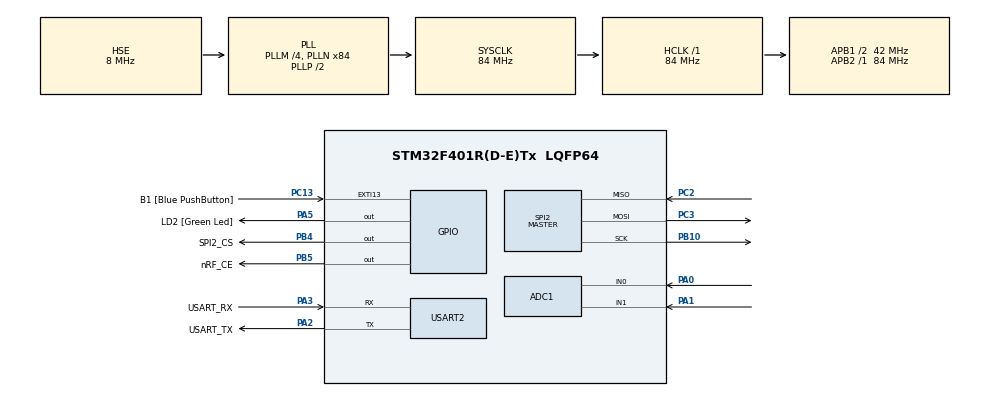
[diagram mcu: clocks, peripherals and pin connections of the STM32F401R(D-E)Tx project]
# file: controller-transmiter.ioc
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ADC1.Channel-0\#ChannelRegularConversion=ADC_CHANNEL_0
ADC1.Channel-1\#ChannelRegularConversion=ADC_CHANNEL_1
ADC1.ContinuousConvMode=ENABLE
ADC1.DMAContinuousRequests=ENABLE
ADC1.NbrOfConversion=2
ADC1.NbrOfConversionFlag=1
ADC1.Rank-0\#ChannelRegularConversion=1
ADC1.Rank-1\#ChannelRegularConversion=2
ADC1.SamplingTime-0\#ChannelRegularConversion=ADC_SAMPLETIME_480CYCLES
ADC1.SamplingTime-1\#ChannelRegularConversion=ADC_SAMPLETIME_480CYCLES
ADC1.ScanConvMode=ENABLE
ADC1.master=1
Dma.ADC1.0.Direction=DMA_PERIPH_TO_MEMORY
Dma.ADC1.0.FIFOMode=DMA_FIFOMODE_DISABLE
Dma.ADC1.0.Instance=DMA2_Stream0
Dma.ADC1.0.MemDataAlignment=DMA_MDATAALIGN_HALFWORD
Dma.ADC1.0.MemInc=DMA_MINC_ENABLE
Dma.ADC1.0.Mode=DMA_CIRCULAR
Dma.ADC1.0.PeriphDataAlignment=DMA_PDATAALIGN_HALFWORD
Dma.ADC1.0.PeriphInc=DMA_PINC_DISABLE
Dma.ADC1.0.Priority=DMA_PRIORITY_LOW
Dma.Request0=ADC1
Mcu.Family=STM32F4
Mcu.Name=STM32F401R(D-E)Tx
Mcu.Package=LQFP64
NVIC.DMA2_Stream0_IRQn=true\:0\:0\:false\:false\:true\:false\:true\:true
NVIC.PriorityGroup=NVIC_PRIORITYGROUP_0
PA0-WKUP.Signal=ADCx_IN0
PA1.Signal=ADCx_IN1
PA13.GPIO_Label=TMS
PA13.Mode=Serial_Wire
PA13.Signal=SYS_JTMS-SWDIO
PA14.GPIO_Label=TCK
PA14.Mode=Serial_Wire
PA14.Signal=SYS_JTCK-SWCLK
PA2.GPIO_Label=USART_TX
PA2.GPIO_Mode=GPIO_MODE_AF_PP
PA2.GPIO_PuPd=GPIO_NOPULL
PA2.GPIO_Speed=GPIO_SPEED_FREQ_LOW
PA2.Mode=Asynchronous
PA2.Signal=USART2_TX
PA3.GPIO_Label=USART_RX
PA3.GPIO_Mode=GPIO_MODE_AF_PP
PA3.GPIO_PuPd=GPIO_NOPULL
PA3.GPIO_Speed=GPIO_SPEED_FREQ_LOW
PA3.Mode=Asynchronous
PA3.Signal=USART2_RX
PA5.GPIO_Label=LD2 [Green Led]
PA5.GPIO_Mode=GPIO_MODE_OUTPUT_PP
PA5.GPIO_PuPd=GPIO_NOPULL
PA5.GPIO_Speed=GPIO_SPEED_FREQ_LOW
PA5.Signal=GPIO_Output
PB10.Mode=Full_Duplex_Master
PB10.Signal=SPI2_SCK
PB3.GPIO_Label=SWO
PB3.Signal=SYS_JTDO-SWO
PB4.GPIO_Label=SPI2_CS
PB4.Signal=GPIO_Output
PB5.GPIO_Label=nRF_CE
PB5.Signal=GPIO_Output
PC13-ANTI_TAMP.GPIO_Label=B1 [Blue PushButton]
PC13-ANTI_TAMP.GPIO_ModeDefaultEXTI=GPIO_MODE_IT_FALLING
PC13-ANTI_TAMP.GPIO_PuPd=GPIO_NOPULL
PC13-ANTI_TAMP.Signal=GPXTI13
PC14-OSC32_IN.Mode=LSE-External-Oscillator
PC14-OSC32_IN.Signal=RCC_OSC32_IN
PC15-OSC32_OUT.Mode=LSE-External-Oscillator
PC15-OSC32_OUT.Signal=RCC_OSC32_OUT
PC2.Mode=Full_Duplex_Master
PC2.Signal=SPI2_MISO
PC3.Mode=Full_Duplex_Master
PC3.Signal=SPI2_MOSI
PH0\ -\ OSC_IN.Mode=HSE-External-Clock-Source
PH0\ -\ OSC_IN.Signal=RCC_OSC_IN
PH1\ -\ OSC_OUT.Mode=HSE-External-Clock-Source
PH1\ -\ OSC_OUT.Signal=RCC_OSC_OUT
ProjectManager.HeapSize=0x200
ProjectManager.StackSize=0x400
ProjectManager.TargetToolchain=MDK-ARM V5.32
RCC.48MHZClocksFreq_Value=24000000
RCC.AHBFreq_Value=84000000
RCC.APB1CLKDivider=RCC_HCLK_DIV2
RCC.APB1Freq_Value=42000000
RCC.APB1TimFreq_Value=84000000
RCC.APB2Freq_Value=84000000
RCC.APB2TimFreq_Value=84000000
RCC.CortexFreq_Value=84000000
RCC.HCLKFreq_Value=84000000
RCC.HSE_VALUE=8000000
RCC.HSI_VALUE=16000000
RCC.PLLM=4
RCC.PLLN=84
RCC.PLLQ=7
RCC.PLLSourceVirtual=RCC_PLLSOURCE_HSE
RCC.SYSCLKFreq_VALUE=84000000
RCC.SYSCLKSource=RCC_SYSCLKSOURCE_PLLCLK
RCC.VCOOutputFreq_Value=168000000
SH.ADCx_IN0.0=ADC1_IN0,IN0
SH.ADCx_IN1.0=ADC1_IN1,IN1
SPI2.BaudRatePrescaler=SPI_BAUDRATEPRESCALER_8
SPI2.Direction=SPI_DIRECTION_2LINES
SPI2.Mode=SPI_MODE_MASTER
SPI2.VirtualType=VM_MASTER
USART2.VirtualMode=VM_ASYNC
board=NUCLEO-F401RE

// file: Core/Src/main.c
/* USER CODE BEGIN Header */
/**
  ******************************************************************************
  * @file           : main.c
  * @brief          : Main program body
  ******************************************************************************
  * @attention
  *
  * Copyright (c) 2022 STMicroelectronics.
  * All rights reserved.
  *
  * This software is licensed under terms that can be found in the LICENSE file
  * in the root directory of this software component.
  * If no LICENSE file comes with this software, it is provided AS-IS.
  *
  ******************************************************************************
  */
/* USER CODE END Header */
#include "main.h"
#include "adc.h"
#include "dma.h"
#include "spi.h"
#include "usart.h"
#include "gpio.h"

/* USER CODE BEGIN Includes */
#include "MY_NRF24.h"
/* USER CODE END Includes */

/* USER CODE BEGIN PTD */
typedef struct  {

	uint8_t  enable;
	uint16_t velocity_front;
	uint16_t velocity_direction;

} sRadioFrame;
/* USER CODE END PTD */

/* USER CODE BEGIN PV */

sRadioFrame radio_frame;

sRadioFrame *radio_ptr = &radio_frame;

int counter = 0;

//joystick
uint16_t joystick[2];

//nRF24
uint64_t tx_pipe_address = 0x1111111111;
uint32_t ack_payload_reference = 123456;
uint32_t ack_payload;

uint32_t ack_successful_counter = 0;
uint32_t ack_fail_counter = 0;

/* USER CODE END PV */

void SystemClock_Config(void);

int main(void)
{

  /* MCU Configuration--------------------------------------------------------*/

  /* Reset of all peripherals, Initializes the Flash interface and the Systick. */
  HAL_Init();

  /* Configure the system clock */
  SystemClock_Config();

  /* Initialize all configured peripherals */
  MX_GPIO_Init();
  MX_SPI2_Init();
  MX_DMA_Init();
  MX_USART2_UART_Init();
  MX_ADC1_Init();
  /* USER CODE BEGIN 2 */

	HAL_ADC_Start_DMA(&hadc1, (uint32_t*)joystick, 2);

	NRF24_begin(GPIOB, SPI2_CS_Pin, nRF_CE_Pin, hspi2);
	nrf24_DebugUART_Init(huart2);

	printRadioSettings();

	NRF24_stopListening();
	NRF24_openWritingPipe(tx_pipe_address);
	NRF24_setAutoAck(true);
	NRF24_setChannel(50);
	NRF24_setPayloadSize(6);

	NRF24_enableDynamicPayloads();
	NRF24_enableAckPayload();

	radio_frame.enable = 0;

  /* USER CODE END 2 */

  /* Infinite loop */
  while (1)
  {

    /* USER CODE BEGIN 3 */

		if(HAL_GPIO_ReadPin(B1_GPIO_Port, B1_Pin) == GPIO_PIN_RESET)
		{
			if(radio_frame.enable == 1)
			{
				radio_frame.enable = 0;
			}
				else if(radio_frame.enable == 0)
				{
					radio_frame.enable = 1;
				}
					else radio_frame.enable = 0;

			HAL_Delay(500);
		}

			radio_frame.velocity_front = joystick[0];
			radio_frame.velocity_direction = joystick[1];

			if(NRF24_write(radio_ptr, 6))
			{
				NRF24_read(&ack_payload, 6);

				if(ack_payload == ack_payload_reference)
				{
					ack_successful_counter++;
				}
				else
				{
					ack_fail_counter++;
				}
			}

			HAL_Delay(10);

  }
  /* USER CODE END 3 */
}

void SystemClock_Config(void)
{
  RCC_OscInitTypeDef RCC_OscInitStruct = {0};
  RCC_ClkInitTypeDef RCC_ClkInitStruct = {0};

  /** Configure the main internal regulator output voltage
  */
  __HAL_RCC_PWR_CLK_ENABLE();
  __HAL_PWR_VOLTAGESCALING_CONFIG(PWR_REGULATOR_VOLTAGE_SCALE2);

  /** Initializes the RCC Oscillators according to the specified parameters
  * in the RCC_OscInitTypeDef structure.
  */
  RCC_OscInitStruct.OscillatorType = RCC_OSCILLATORTYPE_HSE;
  RCC_OscInitStruct.HSEState = RCC_HSE_BYPASS;
  RCC_OscInitStruct.PLL.PLLState = RCC_PLL_ON;
  RCC_OscInitStruct.PLL.PLLSource = RCC_PLLSOURCE_HSE;
  RCC_OscInitStruct.PLL.PLLM = 4;
  RCC_OscInitStruct.PLL.PLLN = 84;
  RCC_OscInitStruct.PLL.PLLP = RCC_PLLP_DIV2;
  RCC_OscInitStruct.PLL.PLLQ = 7;
  if (HAL_RCC_OscConfig(&RCC_OscInitStruct) != HAL_OK)
  {
    Error_Handler();
  }

  /** Initializes the CPU, AHB and APB buses clocks
  */
  RCC_ClkInitStruct.ClockType = RCC_CLOCKTYPE_HCLK|RCC_CLOCKTYPE_SYSCLK
                              |RCC_CLOCKTYPE_PCLK1|RCC_CLOCKTYPE_PCLK2;
  RCC_ClkInitStruct.SYSCLKSource = RCC_SYSCLKSOURCE_PLLCLK;
  RCC_ClkInitStruct.AHBCLKDivider = RCC_SYSCLK_DIV1;
  RCC_ClkInitStruct.APB1CLKDivider = RCC_HCLK_DIV2;
  RCC_ClkInitStruct.APB2CLKDivider = RCC_HCLK_DIV1;

  if (HAL_RCC_ClockConfig(&RCC_ClkInitStruct, FLASH_LATENCY_2) != HAL_OK)
  {
    Error_Handler();
  }
}

void Error_Handler(void)
{
  __disable_irq();
  while (1)
  {
  }
}
